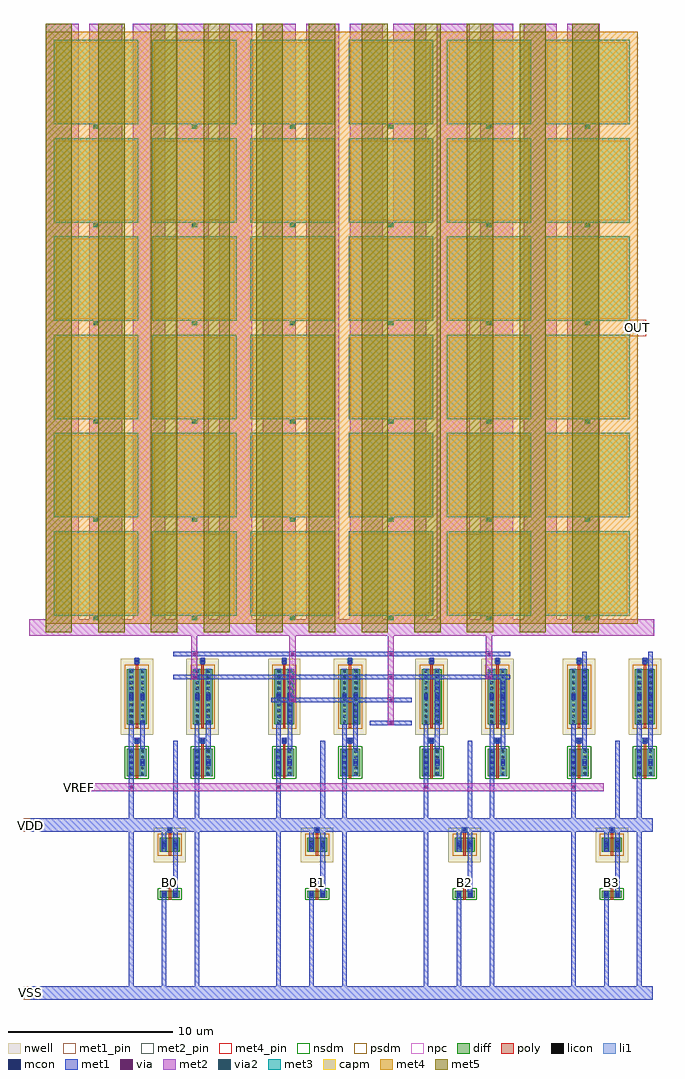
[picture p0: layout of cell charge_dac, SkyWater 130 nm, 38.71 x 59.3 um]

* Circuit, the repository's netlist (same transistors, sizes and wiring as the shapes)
* NGSPICE file created from charge_dac_flat.ext - technology: sky130A

.subckt charge_dac_flat OUT B0 B1 B2 B3 VSS
X0 c1_1306_8294# a_2762_3364# sky130_fd_pr__cap_mim_m3_1 l=4.85 w=4.85
X1 VSS VSS VSS w_4877_1690# sky130_fd_pr__pfet_01v8 ad=0.4452 pd=2.74 as=3.5616 ps=21.92 w=0.84 l=0.15
X2 VSS VSS VSS w_6669_1690# sky130_fd_pr__pfet_01v8 ad=0.4452 pd=2.74 as=0 ps=0 w=0.84 l=0.15
X3 c1_3694_8294# a_2762_3364# sky130_fd_pr__cap_mim_m3_1 l=4.85 w=4.85
X4 c1_112_7100# a_2762_3364# sky130_fd_pr__cap_mim_m3_1 l=4.85 w=4.85
X5 c1_4888_9488# a_2762_3364# sky130_fd_pr__cap_mim_m3_1 l=4.85 w=4.85
X6 c1_4888_4712# a_2762_3364# sky130_fd_pr__cap_mim_m3_1 l=4.85 w=4.85
X7 c1_2500_10682# a_2762_3364# sky130_fd_pr__cap_mim_m3_1 l=4.85 w=4.85
X8 a_4689_2732# a_4641_3132# VSS SUB sky130_fd_pr__nfet_01v8 ad=0.8904 pd=4.42 as=0.8904 ps=4.42 w=1.68 l=0.15
X9 c1_1306_9488# a_2762_3364# sky130_fd_pr__cap_mim_m3_1 l=4.85 w=4.85
X10 c1_1306_4712# a_2762_3364# sky130_fd_pr__cap_mim_m3_1 l=4.85 w=4.85
X11 c1_112_8294# a_2762_3364# sky130_fd_pr__cap_mim_m3_1 l=4.85 w=4.85
X12 c1_3694_9488# a_2762_3364# sky130_fd_pr__cap_mim_m3_1 l=4.85 w=4.85
X13 c1_6082_7100# a_2762_3364# sky130_fd_pr__cap_mim_m3_1 l=4.85 w=4.85
X14 c1_3694_4712# a_2762_3364# sky130_fd_pr__cap_mim_m3_1 l=4.85 w=4.85
X15 a_1108_3364# a_1060_4100# a_972_3364# w_896_3238# sky130_fd_pr__pfet_01v8 ad=1.7808 pd=7.78 as=1.7808 ps=7.78 w=3.36 l=0.15
X16 c1_4888_5906# a_2762_3364# sky130_fd_pr__cap_mim_m3_1 l=4.85 w=4.85
X17 a_2762_3364# a_5441_4100# a_5353_3364# w_5277_3238# sky130_fd_pr__pfet_01v8 ad=1.7808 pd=7.78 as=1.7808 ps=7.78 w=3.36 l=0.15
X18 VSS VSS VSS w_1295_1690# sky130_fd_pr__pfet_01v8 ad=0.4452 pd=2.74 as=0 ps=0 w=0.84 l=0.15
X19 a_1908_3364# a_1860_4100# a_1772_3364# w_1696_3238# sky130_fd_pr__pfet_01v8 ad=1.7808 pd=7.78 as=1.7808 ps=7.78 w=3.36 l=0.15
X20 c1_1306_5906# a_2762_3364# sky130_fd_pr__cap_mim_m3_1 l=4.85 w=4.85
X21 VSS VSS VSS w_3087_1690# sky130_fd_pr__pfet_01v8 ad=0.4452 pd=2.74 as=0 ps=0 w=0.84 l=0.15
X22 c1_112_9488# a_2762_3364# sky130_fd_pr__cap_mim_m3_1 l=4.85 w=4.85
X23 c1_6082_8294# a_2762_3364# sky130_fd_pr__cap_mim_m3_1 l=4.85 w=4.85
X24 c1_112_4712# a_2762_3364# sky130_fd_pr__cap_mim_m3_1 l=4.85 w=4.85
X25 c1_112_10682# a_2762_3364# sky130_fd_pr__cap_mim_m3_1 l=4.85 w=4.85
X26 c1_2500_7100# a_2762_3364# sky130_fd_pr__cap_mim_m3_1 l=4.85 w=4.85
X27 c1_3694_5906# a_2762_3364# sky130_fd_pr__cap_mim_m3_1 l=4.85 w=4.85
X28 a_6480_3364# a_6432_4100# a_6344_3364# w_6268_3238# sky130_fd_pr__pfet_01v8 ad=1.7808 pd=7.78 as=1.7808 ps=7.78 w=3.36 l=0.15
X29 a_5089_1258# B2 a_4953_1258# SUB sky130_fd_pr__nfet_01v8 ad=0.2226 pd=1.9 as=0.2226 ps=1.9 w=0.42 l=0.15
X30 c1_1306_10682# a_2762_3364# sky130_fd_pr__cap_mim_m3_1 l=4.85 w=4.85
X31 c1_3694_10682# a_2762_3364# sky130_fd_pr__cap_mim_m3_1 l=4.85 w=4.85
X32 a_1108_2732# a_1060_3132# VSS SUB sky130_fd_pr__nfet_01v8 ad=0.8904 pd=4.42 as=0.8904 ps=4.42 w=1.68 l=0.15
X33 a_5489_2732# a_5441_3132# VSS SUB sky130_fd_pr__nfet_01v8 ad=0.8904 pd=4.42 as=0.8904 ps=4.42 w=1.68 l=0.15
X34 a_6881_1258# B3 a_6745_1258# SUB sky130_fd_pr__nfet_01v8 ad=0.2226 pd=1.9 as=0.2226 ps=1.9 w=0.42 l=0.15
X35 a_2762_3364# a_2850_4100# a_2762_3364# w_2686_3238# sky130_fd_pr__pfet_01v8 ad=1.7808 pd=7.78 as=10.6848 ps=46.68 w=3.36 l=0.15
X36 c1_2500_8294# a_2762_3364# sky130_fd_pr__cap_mim_m3_1 l=4.85 w=4.85
X37 a_1908_2732# a_1860_3132# VSS SUB sky130_fd_pr__nfet_01v8 ad=0.8904 pd=4.42 as=0.8904 ps=4.42 w=1.68 l=0.15
X38 c1_6082_9488# a_2762_3364# sky130_fd_pr__cap_mim_m3_1 l=4.85 w=4.85
X39 c1_112_5906# a_2762_3364# sky130_fd_pr__cap_mim_m3_1 l=4.85 w=4.85
X40 c1_6082_4712# a_2762_3364# sky130_fd_pr__cap_mim_m3_1 l=4.85 w=4.85
X41 a_7281_3364# a_7233_4100# a_7145_3364# w_7069_3238# sky130_fd_pr__pfet_01v8 ad=1.7808 pd=7.78 as=1.7808 ps=7.78 w=3.36 l=0.15
X42 a_2762_3364# a_3651_4100# a_2762_3364# w_3487_3238# sky130_fd_pr__pfet_01v8 ad=1.7808 pd=7.78 as=0 ps=0 w=3.36 l=0.15
X43 a_6480_2732# a_6432_3132# VSS SUB sky130_fd_pr__nfet_01v8 ad=0.8904 pd=4.42 as=0.8904 ps=4.42 w=1.68 l=0.15
X44 c1_2500_9488# a_2762_3364# sky130_fd_pr__cap_mim_m3_1 l=4.85 w=4.85
X45 c1_2500_4712# a_2762_3364# sky130_fd_pr__cap_mim_m3_1 l=4.85 w=4.85
X46 a_2898_2732# a_2850_3132# VSS SUB sky130_fd_pr__nfet_01v8 ad=0.8904 pd=4.42 as=0.8904 ps=4.42 w=1.68 l=0.15
X47 c1_4888_10682# a_2762_3364# sky130_fd_pr__cap_mim_m3_1 l=4.85 w=4.85
X48 c1_4888_7100# a_2762_3364# sky130_fd_pr__cap_mim_m3_1 l=4.85 w=4.85
X49 c1_6082_5906# a_2762_3364# sky130_fd_pr__cap_mim_m3_1 l=4.85 w=4.85
X50 a_1507_1258# B0 a_1371_1258# SUB sky130_fd_pr__nfet_01v8 ad=0.2226 pd=1.9 as=0.2226 ps=1.9 w=0.42 l=0.15
X51 c1_6082_10682# a_2762_3364# sky130_fd_pr__cap_mim_m3_1 l=4.85 w=4.85
X52 c1_1306_7100# a_2762_3364# sky130_fd_pr__cap_mim_m3_1 l=4.85 w=4.85
X53 a_7281_2732# a_7233_3132# VSS SUB sky130_fd_pr__nfet_01v8 ad=0.8904 pd=4.42 as=0.8904 ps=4.42 w=1.68 l=0.15
X54 a_2762_3364# a_4641_4100# a_4553_3364# w_4477_3238# sky130_fd_pr__pfet_01v8 ad=1.7808 pd=7.78 as=1.7808 ps=7.78 w=3.36 l=0.15
X55 a_3299_1258# B1 a_3163_1258# SUB sky130_fd_pr__nfet_01v8 ad=0.2226 pd=1.9 as=0.2226 ps=1.9 w=0.42 l=0.15
X56 c1_4888_8294# a_2762_3364# sky130_fd_pr__cap_mim_m3_1 l=4.85 w=4.85
X57 a_3699_2732# a_3651_3132# VSS SUB sky130_fd_pr__nfet_01v8 ad=0.8904 pd=4.42 as=0.8904 ps=4.42 w=1.68 l=0.15
X58 c1_3694_7100# a_2762_3364# sky130_fd_pr__cap_mim_m3_1 l=4.85 w=4.85
X59 c1_2500_5906# a_2762_3364# sky130_fd_pr__cap_mim_m3_1 l=4.85 w=4.85
.ends

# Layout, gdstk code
import gdstk
lib = gdstk.Library(unit=1e-6, precision=1e-09)
def R(c, l, rs):  # rectangles x0, y0, x1, y1
    for r in rs: c.add(gdstk.rectangle(r[:2], r[2:], *l))
def A(c, l, x, y, w, h, nx, ny, dx, dy):  # array of equal rectangles
    R(c, l, [(x+i*dx, y+j*dy, x+i*dx+w, y+j*dy+h) for i in range(nx) for j in range(ny)])
nwell = (64, 20)
diff = (65, 20)
poly = (66, 20)
licon = (66, 44)
li1 = (67, 20)
mcon = (67, 44)
met1_pin = (68, 16)
met1 = (68, 20)
via = (68, 44)
met2_pin = (69, 16)
met2 = (69, 20)
via2 = (69, 44)
met3 = (70, 20)
met4_pin = (71, 16)
met4 = (71, 20)
met5 = (72, 20)
capm = (89, 44)
nsdm = (93, 44)
psdm = (94, 20)
npc = (95, 20)

dac_mim_dummy = lib.new_cell('dac_mim_dummy')
R(dac_mim_dummy, met3, [(-2.565,-2.565,2.565,2.565)])
R(dac_mim_dummy, met4, [(-2.565,-2.565,2.565,2.565)])
R(dac_mim_dummy, capm, [(-2.425,-2.425,2.425,2.425)])

dac_mim_unit = lib.new_cell('dac_mim_unit')
R(dac_mim_unit, met3, [(-2.565,-2.565,2.565,2.565)])
R(dac_mim_unit, met4, [(-2.565,-2.565,2.565,2.565)])
R(dac_mim_unit, capm, [(-2.425,-2.425,2.425,2.425)])

dac_sw_nfet = lib.new_cell('dac_sw_nfet')
R(dac_sw_nfet, diff, [(-0.605,-0.84,0.605,0.84)])
R(dac_sw_nfet, poly, [(-0.075,-0.97,0.075,0.97), (-0.075,0.97,0.075,1.49), (-0.165,1.16,0.165,1.49)])
A(dac_sw_nfet, licon, -0.425, -0.765, 0.17, 0.17, 1, 5, 0, 0.34)
A(dac_sw_nfet, licon, 0.255, -0.765, 0.17, 0.17, 1, 5, 0, 0.34)
R(dac_sw_nfet, licon, [(-0.085,1.24,0.085,1.41)])
R(dac_sw_nfet, li1, [(-0.505,-0.845,-0.175,0.845), (0.175,-0.845,0.505,0.845), (-0.165,1.16,0.165,1.49)])
R(dac_sw_nfet, mcon, [(-0.425,-0.085,-0.255,0.085), (0.255,-0.085,0.425,0.085), (-0.085,1.24,0.085,1.41)])
R(dac_sw_nfet, met1, [(-0.455,-0.185,-0.225,0.185), (0.225,-0.185,0.455,0.185), (-0.115,1.14,0.115,1.51)])
R(dac_sw_nfet, nsdm, [(-0.73,-0.98,0.73,0.98)])
R(dac_sw_nfet, npc, [(-0.135,1.19,0.135,1.46)])

dac_sw_pfet = lib.new_cell('dac_sw_pfet')
R(dac_sw_pfet, nwell, [(-0.985,-2.31,0.985,2.31)])
R(dac_sw_pfet, diff, [(-0.605,-1.68,0.605,1.68)])
R(dac_sw_pfet, poly, [(-0.075,-1.93,0.075,1.93), (-0.075,1.93,0.075,2.33), (-0.165,2,0.165,2.33)])
A(dac_sw_pfet, licon, -0.425, -1.615, 0.17, 0.17, 1, 10, 0, 0.34)
A(dac_sw_pfet, licon, 0.255, -1.615, 0.17, 0.17, 1, 10, 0, 0.34)
R(dac_sw_pfet, licon, [(-0.085,2.08,0.085,2.25)])
R(dac_sw_pfet, li1, [(-0.505,-1.695,-0.175,1.695), (0.175,-1.695,0.505,1.695), (-0.165,2,0.165,2.33)])
R(dac_sw_pfet, mcon, [(-0.425,-0.085,-0.255,0.085), (0.255,-0.085,0.425,0.085), (-0.085,2.08,0.085,2.25)])
R(dac_sw_pfet, met1, [(-0.455,-0.185,-0.225,0.185), (0.225,-0.185,0.455,0.185), (-0.115,1.98,0.115,2.35)])
R(dac_sw_pfet, psdm, [(-0.73,-1.94,0.73,1.94)])
R(dac_sw_pfet, npc, [(-0.135,2.03,0.135,2.3)])

dac_inv_nfet = lib.new_cell('dac_inv_nfet')
R(dac_inv_nfet, diff, [(-0.605,-0.21,0.605,0.21)])
R(dac_inv_nfet, poly, [(-0.075,-0.34,0.075,0.34), (-0.075,0.34,0.075,0.86), (-0.165,0.53,0.165,0.86)])
R(dac_inv_nfet, licon, [(-0.425,-0.085,-0.255,0.085), (0.255,-0.085,0.425,0.085), (-0.085,0.61,0.085,0.78)])
R(dac_inv_nfet, li1, [(-0.505,-0.165,-0.175,0.165), (0.175,-0.165,0.505,0.165), (-0.165,0.53,0.165,0.86)])
R(dac_inv_nfet, mcon, [(-0.425,-0.085,-0.255,0.085), (0.255,-0.085,0.425,0.085), (-0.085,0.61,0.085,0.78)])
R(dac_inv_nfet, met1, [(-0.455,-0.185,-0.225,0.185), (0.225,-0.185,0.455,0.185), (-0.115,0.51,0.115,0.88)])
R(dac_inv_nfet, nsdm, [(-0.73,-0.35,0.73,0.35)])
R(dac_inv_nfet, npc, [(-0.135,0.56,0.135,0.83)])

dac_inv_pfet = lib.new_cell('dac_inv_pfet')
R(dac_inv_pfet, nwell, [(-0.985,-1.05,0.985,1.05)])
R(dac_inv_pfet, diff, [(-0.605,-0.42,0.605,0.42)])
R(dac_inv_pfet, poly, [(-0.075,-0.67,0.075,0.67), (-0.075,0.67,0.075,1.07), (-0.165,0.74,0.165,1.07)])
R(dac_inv_pfet, licon, [(-0.425,-0.255,-0.255,-0.085), (0.255,-0.255,0.425,-0.085), (-0.425,0.085,-0.255,0.255), (0.255,0.085,0.425,0.255), (-0.085,0.82,0.085,0.99)])
R(dac_inv_pfet, li1, [(-0.505,-0.335,-0.175,0.335), (0.175,-0.335,0.505,0.335), (-0.165,0.74,0.165,1.07)])
R(dac_inv_pfet, mcon, [(-0.425,-0.085,-0.255,0.085), (0.255,-0.085,0.425,0.085), (-0.085,0.82,0.085,0.99)])
R(dac_inv_pfet, met1, [(-0.455,-0.185,-0.225,0.185), (0.225,-0.185,0.455,0.185), (-0.115,0.72,0.115,1.09)])
R(dac_inv_pfet, psdm, [(-0.73,-0.68,0.73,0.68)])
R(dac_inv_pfet, npc, [(-0.135,0.77,0.135,1.04)])

charge_dac = lib.new_cell('charge_dac')
R(charge_dac, met1_pin, [(-1.4,0.1,-0.6,0.9), (7.347,7.08,7.578,7.31), (16.303,7.08,16.532,7.31), (25.257,7.08,25.487,7.31), (34.212,7.08,34.443,7.31), (-1.4,10.3,-0.6,11.1)])
A(charge_dac, met1, 8.805, 19.55, 0.3, 0.3, 4, 2, 5.97, 1.4)
R(charge_dac, met1, [(-1,0.1,36.82,0.9), (4.983,0.5,5.263,13.66), (6.983,0.5,7.262,6.29), (8.982,0.5,9.263,13.66), (13.937,0.5,14.218,13.66), (15.937,0.5,16.218,6.29), (17.937,0.5,18.218,13.66), (22.892,0.5,23.172,13.66), (24.892,0.5,25.172,6.29), (26.892,0.5,27.172,13.66), (31.847,0.5,32.127,13.66), (33.847,0.5,34.127,6.29), (35.847,0.5,36.127,13.66), (8.982,3.5,9.263,13.66), (17.937,3.5,18.218,13.66), (26.892,3.5,27.172,13.66), (35.847,3.5,36.127,13.66), (7.663,6.71,7.942,15.825), (16.617,6.71,16.898,15.825), (25.572,6.71,25.852,15.825), (34.528,6.71,34.808,15.825), (6.983,9.08,7.262,10.7), (15.937,9.08,16.218,10.7), (24.892,9.08,25.172,10.7), (33.847,9.08,34.127,10.7), (-1,10.3,36.82,11.1), (4.983,10.7,5.263,16.82), (8.982,10.7,9.263,16.82), (13.937,10.7,14.218,16.82), (17.937,10.7,18.218,16.82), (22.892,10.7,23.172,16.82), (26.892,10.7,27.172,16.82), (31.847,10.7,32.127,16.82), (35.847,10.7,36.127,16.82), (4.993,12.87,5.253,13.13), (13.947,12.87,14.208,13.13), (22.902,12.87,23.162,13.13), (31.857,12.87,32.117,13.13), (4.983,13,5.263,13.66), (13.937,13,14.218,13.66), (22.892,13,23.172,13.66), (31.847,13,32.127,13.66), (5.663,15.34,5.942,17.04), (9.662,15.34,9.943,17.04), (14.617,15.34,14.898,18.44), (18.617,15.34,18.898,18.44), (23.572,15.34,23.852,19.84), (27.572,15.34,27.852,19.84), (32.528,15.34,32.808,21.24), (36.528,15.34,36.808,21.24), (20.745,16.75,21.045,17.05), (19.613,16.76,22.177,17.04), (14.775,18.15,15.075,18.45), (20.745,18.15,21.045,18.45), (13.642,18.16,22.177,18.44), (7.672,19.56,28.147,19.84), (8.805,20.95,9.105,21.25), (8.805,20.95,9.105,21.25), (26.715,20.95,27.015,21.25), (26.715,20.95,27.015,21.25), (7.672,20.96,28.147,21.24)])
A(charge_dac, via, 8.88, 19.625, 0.15, 0.15, 4, 2, 5.97, 1.4)
R(charge_dac, via, [(5.048,12.925,5.198,13.075), (14.003,12.925,14.152,13.075), (22.957,12.925,23.107,13.075), (31.912,12.925,32.062,13.075), (20.82,16.825,20.97,16.975), (14.85,18.225,15,18.375), (20.82,18.225,20.97,18.375), (8.88,21.025,9.03,21.175), (8.88,21.025,9.03,21.175), (26.79,21.025,26.94,21.175), (26.79,21.025,26.94,21.175)])
R(charge_dac, met2_pin, [(1.735,12.75,2.235,13.25)])
A(charge_dac, met2, 8.805, 19.55, 0.3, 0.3, 4, 2, 5.97, 1.4)
A(charge_dac, met2, -0.08, 22.42, 2, 36.98, 13, 1, 2.64, 0)
A(charge_dac, met2, 2.82, 23.145, 0.33, 0.33, 6, 6, 5.97, 5.97)
R(charge_dac, met2, [(1.985,12.75,33.835,13.25), (4.993,12.87,5.253,13.13), (13.947,12.87,14.208,13.13), (22.902,12.87,23.162,13.13), (31.857,12.87,32.117,13.13), (20.745,16.75,21.045,17.05), (20.705,16.76,21.085,41.36), (14.775,18.15,15.075,18.45), (20.745,18.15,21.045,18.45), (14.735,18.16,15.115,29.42), (20.705,18.16,21.085,47.33), (8.765,19.56,9.145,41.36), (14.735,19.56,15.115,47.33), (20.705,19.56,21.085,29.42), (26.675,19.56,27.055,35.39), (8.805,20.95,9.105,21.25), (8.805,20.95,9.105,21.25), (26.715,20.95,27.015,21.25), (26.715,20.95,27.015,21.25), (8.765,20.96,9.145,29.42), (8.765,20.96,9.145,35.39), (8.765,20.96,9.145,47.33), (14.735,20.96,15.115,41.36), (20.705,20.96,21.085,35.39), (26.675,20.96,27.055,29.42), (26.675,20.96,27.055,41.36), (26.675,20.96,27.055,47.33), (-1.08,22.2,36.9,23.2)])
A(charge_dac, via2, 2.885, 23.21, 0.2, 0.2, 6, 6, 5.97, 5.97)
A(charge_dac, met3, 2.82, 23.145, 0.33, 0.33, 6, 6, 5.97, 5.97)
R(charge_dac, met4_pin, [(35.4,40.41,36.4,41.41)])
R(charge_dac, met4, [(-0.08,22.92,35.9,58.9)])
A(charge_dac, met5, -0.08, 22.42, 1.6, 36.98, 11, 1, 3.2, 0)
charge_dac.add(gdstk.Reference(dac_mim_dummy, (2.985,25.985)))
charge_dac.add(gdstk.Reference(dac_mim_dummy, (8.955,25.985)))
charge_dac.add(gdstk.Reference(dac_mim_dummy, (14.925,25.985)))
charge_dac.add(gdstk.Reference(dac_mim_dummy, (20.895,25.985)))
charge_dac.add(gdstk.Reference(dac_mim_dummy, (26.865,25.985)))
charge_dac.add(gdstk.Reference(dac_mim_dummy, (32.835,25.985)))
charge_dac.add(gdstk.Reference(dac_mim_dummy, (2.985,31.955)))
charge_dac.add(gdstk.Reference(dac_mim_unit, (8.955,31.955)))
charge_dac.add(gdstk.Reference(dac_mim_unit, (14.925,31.955)))
charge_dac.add(gdstk.Reference(dac_mim_unit, (20.895,31.955)))
charge_dac.add(gdstk.Reference(dac_mim_unit, (26.865,31.955)))
charge_dac.add(gdstk.Reference(dac_mim_dummy, (32.835,31.955)))
charge_dac.add(gdstk.Reference(dac_mim_dummy, (2.985,37.925)))
charge_dac.add(gdstk.Reference(dac_mim_unit, (8.955,37.925)))
charge_dac.add(gdstk.Reference(dac_mim_dummy, (14.925,37.925)))
charge_dac.add(gdstk.Reference(dac_mim_unit, (20.895,37.925)))
charge_dac.add(gdstk.Reference(dac_mim_unit, (26.865,37.925)))
charge_dac.add(gdstk.Reference(dac_mim_dummy, (32.835,37.925)))
charge_dac.add(gdstk.Reference(dac_mim_dummy, (2.985,43.895)))
charge_dac.add(gdstk.Reference(dac_mim_unit, (8.955,43.895)))
charge_dac.add(gdstk.Reference(dac_mim_unit, (14.925,43.895)))
charge_dac.add(gdstk.Reference(dac_mim_unit, (20.895,43.895)))
charge_dac.add(gdstk.Reference(dac_mim_unit, (26.865,43.895)))
charge_dac.add(gdstk.Reference(dac_mim_dummy, (32.835,43.895)))
charge_dac.add(gdstk.Reference(dac_mim_dummy, (2.985,49.865)))
charge_dac.add(gdstk.Reference(dac_mim_unit, (8.955,49.865)))
charge_dac.add(gdstk.Reference(dac_mim_unit, (14.925,49.865)))
charge_dac.add(gdstk.Reference(dac_mim_unit, (20.895,49.865)))
charge_dac.add(gdstk.Reference(dac_mim_unit, (26.865,49.865)))
charge_dac.add(gdstk.Reference(dac_mim_dummy, (32.835,49.865)))
charge_dac.add(gdstk.Reference(dac_mim_dummy, (2.985,55.835)))
charge_dac.add(gdstk.Reference(dac_mim_dummy, (8.955,55.835)))
charge_dac.add(gdstk.Reference(dac_mim_dummy, (14.925,55.835)))
charge_dac.add(gdstk.Reference(dac_mim_dummy, (20.895,55.835)))
charge_dac.add(gdstk.Reference(dac_mim_dummy, (26.865,55.835)))
charge_dac.add(gdstk.Reference(dac_mim_dummy, (32.835,55.835)))
charge_dac.add(gdstk.Reference(dac_sw_nfet, (5.463,14.5)))
charge_dac.add(gdstk.Reference(dac_sw_pfet, (5.463,18.5)))
charge_dac.add(gdstk.Reference(dac_sw_nfet, (9.463,14.5)))
charge_dac.add(gdstk.Reference(dac_sw_pfet, (9.463,18.5)))
charge_dac.add(gdstk.Reference(dac_sw_nfet, (14.417,14.5)))
charge_dac.add(gdstk.Reference(dac_sw_pfet, (14.417,18.5)))
charge_dac.add(gdstk.Reference(dac_sw_nfet, (18.418,14.5)))
charge_dac.add(gdstk.Reference(dac_sw_pfet, (18.418,18.5)))
charge_dac.add(gdstk.Reference(dac_sw_nfet, (23.372,14.5)))
charge_dac.add(gdstk.Reference(dac_sw_pfet, (23.372,18.5)))
charge_dac.add(gdstk.Reference(dac_sw_nfet, (27.372,14.5)))
charge_dac.add(gdstk.Reference(dac_sw_pfet, (27.372,18.5)))
charge_dac.add(gdstk.Reference(dac_sw_nfet, (32.327,14.5)))
charge_dac.add(gdstk.Reference(dac_sw_pfet, (32.327,18.5)))
charge_dac.add(gdstk.Reference(dac_sw_nfet, (36.328,14.5)))
charge_dac.add(gdstk.Reference(dac_sw_pfet, (36.328,18.5)))
charge_dac.add(gdstk.Reference(dac_inv_nfet, (7.462,6.5)))
charge_dac.add(gdstk.Reference(dac_inv_pfet, (7.462,9.5)))
charge_dac.add(gdstk.Reference(dac_inv_nfet, (16.418,6.5)))
charge_dac.add(gdstk.Reference(dac_inv_pfet, (16.418,9.5)))
charge_dac.add(gdstk.Reference(dac_inv_nfet, (25.372,6.5)))
charge_dac.add(gdstk.Reference(dac_inv_pfet, (25.372,9.5)))
charge_dac.add(gdstk.Reference(dac_inv_nfet, (34.328,6.5)))
charge_dac.add(gdstk.Reference(dac_inv_pfet, (34.328,9.5)))
charge_dac.add(gdstk.Label('OUT', (35.9,40.91), layer=71, texttype=5))
charge_dac.add(gdstk.Label('VREF', (1.985,13), layer=69, texttype=5))
charge_dac.add(gdstk.Label('B0', (7.462,7.195), layer=68, texttype=5))
charge_dac.add(gdstk.Label('B1', (16.418,7.195), layer=68, texttype=5))
charge_dac.add(gdstk.Label('B2', (25.372,7.195), layer=68, texttype=5))
charge_dac.add(gdstk.Label('B3', (34.328,7.195), layer=68, texttype=5))
charge_dac.add(gdstk.Label('VDD', (-1,10.7), layer=68, texttype=5))
charge_dac.add(gdstk.Label('VSS', (-1,0.5), layer=68, texttype=5))

lib.write_gds('charge_dac.gds')
